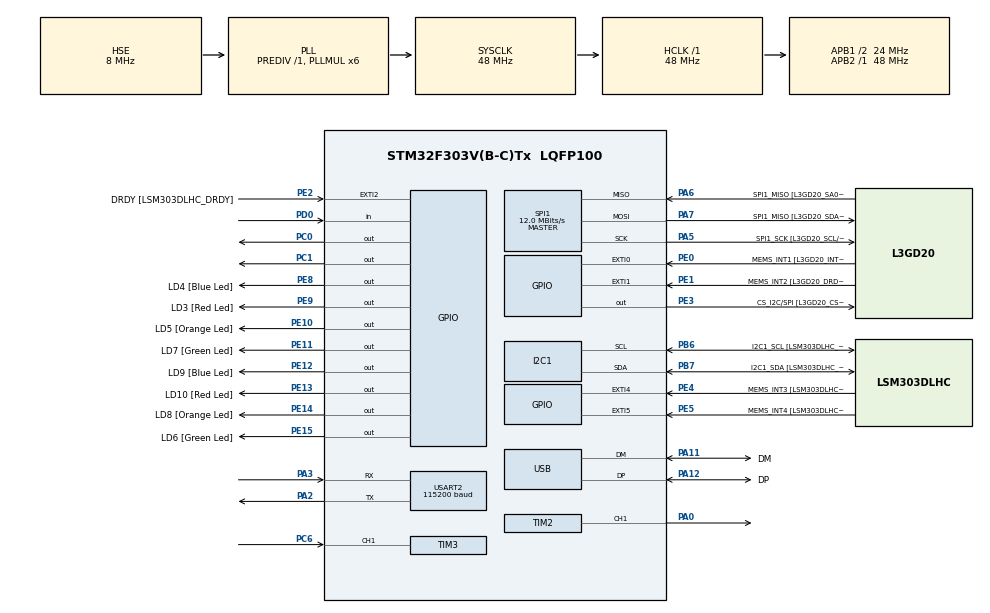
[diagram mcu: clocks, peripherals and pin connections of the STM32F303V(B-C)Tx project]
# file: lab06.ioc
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I2C1.Timing=0x00201D2B
I2C1.Timing-I2C=0x2000090E
Mcu.Family=STM32F3
Mcu.Name=STM32F303V(B-C)Tx
Mcu.Package=LQFP100
NVIC.PriorityGroup=NVIC_PRIORITYGROUP_0
NVIC.TIM2_IRQn=true\:0\:0\:false\:false\:true\:true\:true\:true
NVIC.TIM3_IRQn=true\:0\:0\:false\:false\:true\:true\:true\:true
PA0.Signal=S_TIM2_CH1_ETR
PA11.GPIO_Label=DM
PA11.Mode=Device
PA11.Signal=USB_DM
PA12.GPIO_Label=DP
PA12.Mode=Device
PA12.Signal=USB_DP
PA13.GPIO_Label=SWDIO
PA13.Mode=Serial_Wire
PA13.Signal=SYS_JTMS-SWDIO
PA14.GPIO_Label=SWCLK
PA14.Mode=Serial_Wire
PA14.Signal=SYS_JTCK-SWCLK
PA2.Mode=Asynchronous
PA2.Signal=USART2_TX
PA3.Mode=Asynchronous
PA3.Signal=USART2_RX
PA5.GPIO_Label=SPI1_SCK [L3GD20_SCL/SPC]
PA5.Mode=Full_Duplex_Master
PA5.Signal=SPI1_SCK
PA6.GPIO_Label=SPI1_MISO [L3GD20_SA0/SDO]
PA6.Mode=Full_Duplex_Master
PA6.Signal=SPI1_MISO
PA7.GPIO_Label=SPI1_MISO [L3GD20_SDA/SDI/SDO]
PA7.Mode=Full_Duplex_Master
PA7.Signal=SPI1_MOSI
PB3.GPIO_Label=SWO
PB3.Signal=SYS_JTDO-TRACESWO
PB6.GPIO_Label=I2C1_SCL [LSM303DLHC_SCL]
PB6.GPIO_Pu=GPIO_PULLUP
PB6.Mode=I2C
PB6.Signal=I2C1_SCL
PB7.GPIO_Label=I2C1_SDA [LSM303DLHC_SDA]
PB7.GPIO_Pu=GPIO_PULLUP
PB7.Mode=I2C
PB7.Signal=I2C1_SDA
PC0.Signal=GPIO_Output
PC1.Signal=GPIO_Output
PC14-OSC32_IN.GPIO_Label=OSC32_IN
PC14-OSC32_IN.Signal=RCC_OSC32_IN
PC15-OSC32_OUT.GPIO_Label=OSC32_OUT
PC15-OSC32_OUT.Signal=RCC_OSC32_OUT
PC6.Signal=S_TIM3_CH1
PD0.Signal=GPIO_Input
PE0.GPIO_Label=MEMS_INT1 [L3GD20_INT1]
PE0.GPIO_ModeDefaultEXTI=GPIO_MODE_EVT_RISING
PE0.Signal=GPXTI0
PE1.GPIO_Label=MEMS_INT2 [L3GD20_DRDY/INT2]
PE1.GPIO_ModeDefaultEXTI=GPIO_MODE_EVT_RISING
PE1.Signal=GPXTI1
PE10.GPIO_Label=LD5 [Orange Led]
PE10.Signal=GPIO_Output
PE11.GPIO_Label=LD7 [Green Led]
PE11.Signal=GPIO_Output
PE12.GPIO_Label=LD9 [Blue Led]
PE12.Signal=GPIO_Output
PE13.GPIO_Label=LD10 [Red Led]
PE13.Signal=GPIO_Output
PE14.GPIO_Label=LD8 [Orange Led]
PE14.Signal=GPIO_Output
PE15.GPIO_Label=LD6 [Green Led]
PE15.Signal=GPIO_Output
PE2.GPIO_Label=DRDY [LSM303DLHC_DRDY]
PE2.GPIO_ModeDefaultEXTI=GPIO_MODE_EVT_RISING
PE2.Signal=GPXTI2
PE3.GPIO_Label=CS_I2C/SPI [L3GD20_CS_I2C/SPI]
PE3.Signal=GPIO_Output
PE4.GPIO_Label=MEMS_INT3 [LSM303DLHC_INT1]
PE4.GPIO_ModeDefaultEXTI=GPIO_MODE_EVT_RISING
PE4.Signal=GPXTI4
PE5.GPIO_Label=MEMS_INT4 [LSM303DLHC_INT2]
PE5.GPIO_ModeDefaultEXTI=GPIO_MODE_EVT_RISING
PE5.Signal=GPXTI5
PE8.GPIO_Label=LD4 [Blue Led]
PE8.Signal=GPIO_Output
PE9.GPIO_Label=LD3 [Red Led]
PE9.Signal=GPIO_Output
PF0-OSC_IN.GPIO_Label=OSC_IN
PF0-OSC_IN.Mode=HSE-External-Clock-Source
PF0-OSC_IN.Signal=RCC_OSC_IN
PF1-OSC_OUT.GPIO_Label=OSC_OUT
PF1-OSC_OUT.Signal=RCC_OSC_OUT
ProjectManager.HeapSize=0x200
ProjectManager.StackSize=0x400
ProjectManager.TargetToolchain=CMake
RCC.AHBFreq_Value=48000000
RCC.APB1CLKDivider=RCC_HCLK_DIV2
RCC.APB1Freq_Value=24000000
RCC.APB1TimFreq_Value=48000000
RCC.APB2Freq_Value=48000000
RCC.APB2TimFreq_Value=48000000
RCC.CortexFreq_Value=48000000
RCC.HCLKFreq_Value=48000000
RCC.HSE_VALUE=8000000
RCC.HSI_VALUE=8000000
RCC.LSE_VALUE=32768
RCC.PLLMUL=RCC_PLL_MUL6
RCC.SYSCLKFreq_VALUE=48000000
RCC.SYSCLKSourceVirtual=RCC_SYSCLKSOURCE_PLLCLK
RCC.USBFreq_Value=48000000
SH.S_TIM2_CH1_ETR.0=TIM2_CH1,PWM Generation1 CH1
SH.S_TIM3_CH1.0=TIM3_CH1,Input_Capture1_from_TI1
SPI1.BaudRatePrescaler=SPI_BAUDRATEPRESCALER_4
SPI1.BaudRatePrescaler-Full_Duplex_Master=SPI_BAUDRATEPRESCALER_2
SPI1.CalculateBaudRate=12.0 MBits/s
SPI1.CalculateBaudRate-Full_Duplex_Master=24.0 MBits/s
SPI1.Direction=SPI_DIRECTION_2LINES
SPI1.Mode=SPI_MODE_MASTER
SPI1.Mode-Full_Duplex_Master=SPI_MODE_MASTER
SPI1.VirtualType=VM_MASTER
TIM2.Channel-PWM\ Generation1\ CH1=TIM_CHANNEL_1
TIM2.Period=999
TIM2.Prescaler=47
TIM3.Channel-Input_Capture1_from_TI1=TIM_CHANNEL_1
TIM3.Prescaler=47
USART2.BaudRate=115200
USART2.VirtualMode-Asynchronous=VM_ASYNC
VP_TIM2_VS_ClockSourceINT.Mode=Internal
VP_TIM3_VS_ClockSourceINT.Mode=Internal
board=STM32F3DISCOVERY

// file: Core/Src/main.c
/* USER CODE BEGIN Header */
/**
  ******************************************************************************
  * @file           : main.c
  * @brief          : Main program body
  ******************************************************************************
  * @attention
  *
  * Copyright (c) 2026 STMicroelectronics.
  * All rights reserved.
  *
  * This software is licensed under terms that can be found in the LICENSE file
  * in the root directory of this software component.
  * If no LICENSE file comes with this software, it is provided AS-IS.
  *
  ******************************************************************************
  */
/* USER CODE END Header */
#include "main.h"

/* USER CODE BEGIN Includes */
#include <stdarg.h>
#include <stdio.h>

/* USER CODE END Includes */

I2C_HandleTypeDef hi2c1;

SPI_HandleTypeDef hspi1;

TIM_HandleTypeDef htim2;
TIM_HandleTypeDef htim3;

UART_HandleTypeDef huart2;

PCD_HandleTypeDef hpcd_USB_FS;

/* USER CODE BEGIN PV */
/* CHR-GM37-520 nominal output-shaft PPR is 330 (11 encoder pulses × 30:1 gearbox),
   the full speed of motor is qcquired when input voltage is set to 12V */
#define PPR 330.0f

uint16_t g_icPeriodTicks = 0U;
uint32_t g_icPeriodSeq = 0U;

/* USER CODE END PV */

void SystemClock_Config(void);
static void MX_GPIO_Init(void);
static void MX_I2C1_Init(void);
static void MX_SPI1_Init(void);
static void MX_TIM2_Init(void);
static void MX_USB_PCD_Init(void);
static void MX_USART2_UART_Init(void);
static void MX_TIM3_Init(void);
/* USER CODE BEGIN PFP */
void Motor_A_Forward(void);
void Motor_A_Reverse(void);
void Motor_A_Stop(void);
void Motor_A_SetSpeed(uint8_t speed_percent);

/* USER CODE END PFP */

/* USER CODE BEGIN 0 */
void myPrintf(const char *fmt, ...)
{
  char buffer[128];
  va_list args;
  va_start(args, fmt);
  int len = vsnprintf(buffer, sizeof(buffer), fmt, args);
  va_end(args);

  if (len > 0)
  {
    HAL_UART_Transmit(&huart2, (uint8_t *)buffer, (uint16_t)len, HAL_MAX_DELAY);
  }
}

void Motor_A_Forward(void)
{
  HAL_GPIO_WritePin(GPIOC, GPIO_PIN_0, GPIO_PIN_SET);
  HAL_GPIO_WritePin(GPIOC, GPIO_PIN_1, GPIO_PIN_RESET);
}

void Motor_A_Reverse(void)
{
  HAL_GPIO_WritePin(GPIOC, GPIO_PIN_0, GPIO_PIN_RESET);
  HAL_GPIO_WritePin(GPIOC, GPIO_PIN_1, GPIO_PIN_SET);
}

void Motor_A_Stop(void)
{
  HAL_GPIO_WritePin(GPIOC, GPIO_PIN_0, GPIO_PIN_RESET);
  HAL_GPIO_WritePin(GPIOC, GPIO_PIN_1, GPIO_PIN_RESET);
}

void Motor_A_SetSpeed(uint8_t speed_percent)
{
  if (speed_percent > 100)
  {
    speed_percent = 100;
  }

  uint16_t ccr = (uint16_t)(((uint32_t)speed_percent * 999U) / 100U);
  __HAL_TIM_SET_COMPARE(&htim2, TIM_CHANNEL_1, ccr);
}
/* USER CODE END 0 */

int main(void)
{

  /* MCU Configuration--------------------------------------------------------*/

  /* Reset of all peripherals, Initializes the Flash interface and the Systick. */
  HAL_Init();

  /* Configure the system clock */
  SystemClock_Config();

  /* Initialize all configured peripherals */
  MX_GPIO_Init();
  MX_I2C1_Init();
  MX_SPI1_Init();
  MX_TIM2_Init();
  MX_USB_PCD_Init();
  MX_USART2_UART_Init();
  MX_TIM3_Init();
  /* USER CODE BEGIN 2 */
  HAL_TIM_PWM_Start(&htim2, TIM_CHANNEL_1);
  HAL_TIM_IC_Start_IT(&htim3, TIM_CHANNEL_1);

  Motor_A_Forward();
  Motor_A_SetSpeed(100);

  /* USER CODE END 2 */

  /* Infinite loop */
  /* USER CODE BEGIN WHILE */
  while (1)
  {
    static uint32_t lastProcessedSeq = 0U;
    if (g_icPeriodSeq != lastProcessedSeq)
    {
      lastProcessedSeq = g_icPeriodSeq;
      float freq = 1000000.0f / (float)g_icPeriodTicks;
      float rpm = (60.0f * freq) / PPR;
      myPrintf("Ticks(avg): %u | Freq: %.2f Hz | RPM: %.2f\r\n", (unsigned int)g_icPeriodTicks, freq, rpm);
    }

    /* USER CODE END WHILE */

  }
}

void SystemClock_Config(void)
{
  RCC_OscInitTypeDef RCC_OscInitStruct = {0};
  RCC_ClkInitTypeDef RCC_ClkInitStruct = {0};
  RCC_PeriphCLKInitTypeDef PeriphClkInit = {0};

  /** Initializes the RCC Oscillators according to the specified parameters
  * in the RCC_OscInitTypeDef structure.
  */
  RCC_OscInitStruct.OscillatorType = RCC_OSCILLATORTYPE_HSI|RCC_OSCILLATORTYPE_HSE;
  RCC_OscInitStruct.HSEState = RCC_HSE_BYPASS;
  RCC_OscInitStruct.HSEPredivValue = RCC_HSE_PREDIV_DIV1;
  RCC_OscInitStruct.HSIState = RCC_HSI_ON;
  RCC_OscInitStruct.HSICalibrationValue = RCC_HSICALIBRATION_DEFAULT;
  RCC_OscInitStruct.PLL.PLLState = RCC_PLL_ON;
  RCC_OscInitStruct.PLL.PLLSource = RCC_PLLSOURCE_HSE;
  RCC_OscInitStruct.PLL.PLLMUL = RCC_PLL_MUL6;
  if (HAL_RCC_OscConfig(&RCC_OscInitStruct) != HAL_OK)
  {
    Error_Handler();
  }

  /** Initializes the CPU, AHB and APB buses clocks
  */
  RCC_ClkInitStruct.ClockType = RCC_CLOCKTYPE_HCLK|RCC_CLOCKTYPE_SYSCLK
                              |RCC_CLOCKTYPE_PCLK1|RCC_CLOCKTYPE_PCLK2;
  RCC_ClkInitStruct.SYSCLKSource = RCC_SYSCLKSOURCE_PLLCLK;
  RCC_ClkInitStruct.AHBCLKDivider = RCC_SYSCLK_DIV1;
  RCC_ClkInitStruct.APB1CLKDivider = RCC_HCLK_DIV2;
  RCC_ClkInitStruct.APB2CLKDivider = RCC_HCLK_DIV1;

  if (HAL_RCC_ClockConfig(&RCC_ClkInitStruct, FLASH_LATENCY_1) != HAL_OK)
  {
    Error_Handler();
  }
  PeriphClkInit.PeriphClockSelection = RCC_PERIPHCLK_USB|RCC_PERIPHCLK_USART2
                              |RCC_PERIPHCLK_I2C1;
  PeriphClkInit.Usart2ClockSelection = RCC_USART2CLKSOURCE_PCLK1;
  PeriphClkInit.I2c1ClockSelection = RCC_I2C1CLKSOURCE_HSI;
  PeriphClkInit.USBClockSelection = RCC_USBCLKSOURCE_PLL;
  if (HAL_RCCEx_PeriphCLKConfig(&PeriphClkInit) != HAL_OK)
  {
    Error_Handler();
  }
}

static void MX_I2C1_Init(void)
{

  hi2c1.Instance = I2C1;
  hi2c1.Init.Timing = 0x00201D2B;
  hi2c1.Init.OwnAddress1 = 0;
  hi2c1.Init.AddressingMode = I2C_ADDRESSINGMODE_7BIT;
  hi2c1.Init.DualAddressMode = I2C_DUALADDRESS_DISABLE;
  hi2c1.Init.OwnAddress2 = 0;
  hi2c1.Init.OwnAddress2Masks = I2C_OA2_NOMASK;
  hi2c1.Init.GeneralCallMode = I2C_GENERALCALL_DISABLE;
  hi2c1.Init.NoStretchMode = I2C_NOSTRETCH_DISABLE;
  if (HAL_I2C_Init(&hi2c1) != HAL_OK)
  {
    Error_Handler();
  }

  /** Configure Analogue filter
  */
  if (HAL_I2CEx_ConfigAnalogFilter(&hi2c1, I2C_ANALOGFILTER_ENABLE) != HAL_OK)
  {
    Error_Handler();
  }

  /** Configure Digital filter
  */
  if (HAL_I2CEx_ConfigDigitalFilter(&hi2c1, 0) != HAL_OK)
  {
    Error_Handler();
  }

}

static void MX_SPI1_Init(void)
{

  /* SPI1 parameter configuration*/
  hspi1.Instance = SPI1;
  hspi1.Init.Mode = SPI_MODE_MASTER;
  hspi1.Init.Direction = SPI_DIRECTION_2LINES;
  hspi1.Init.DataSize = SPI_DATASIZE_4BIT;
  hspi1.Init.CLKPolarity = SPI_POLARITY_LOW;
  hspi1.Init.CLKPhase = SPI_PHASE_1EDGE;
  hspi1.Init.NSS = SPI_NSS_SOFT;
  hspi1.Init.BaudRatePrescaler = SPI_BAUDRATEPRESCALER_4;
  hspi1.Init.FirstBit = SPI_FIRSTBIT_MSB;
  hspi1.Init.TIMode = SPI_TIMODE_DISABLE;
  hspi1.Init.CRCCalculation = SPI_CRCCALCULATION_DISABLE;
  hspi1.Init.CRCPolynomial = 7;
  hspi1.Init.CRCLength = SPI_CRC_LENGTH_DATASIZE;
  hspi1.Init.NSSPMode = SPI_NSS_PULSE_ENABLE;
  if (HAL_SPI_Init(&hspi1) != HAL_OK)
  {
    Error_Handler();
  }

}

static void MX_TIM2_Init(void)
{

  TIM_ClockConfigTypeDef sClockSourceConfig = {0};
  TIM_MasterConfigTypeDef sMasterConfig = {0};
  TIM_OC_InitTypeDef sConfigOC = {0};

  htim2.Instance = TIM2;
  htim2.Init.Prescaler = 47;
  htim2.Init.CounterMode = TIM_COUNTERMODE_UP;
  htim2.Init.Period = 999;
  htim2.Init.ClockDivision = TIM_CLOCKDIVISION_DIV1;
  htim2.Init.AutoReloadPreload = TIM_AUTORELOAD_PRELOAD_DISABLE;
  if (HAL_TIM_Base_Init(&htim2) != HAL_OK)
  {
    Error_Handler();
  }
  sClockSourceConfig.ClockSource = TIM_CLOCKSOURCE_INTERNAL;
  if (HAL_TIM_ConfigClockSource(&htim2, &sClockSourceConfig) != HAL_OK)
  {
    Error_Handler();
  }
  if (HAL_TIM_PWM_Init(&htim2) != HAL_OK)
  {
    Error_Handler();
  }
  sMasterConfig.MasterOutputTrigger = TIM_TRGO_RESET;
  sMasterConfig.MasterSlaveMode = TIM_MASTERSLAVEMODE_DISABLE;
  if (HAL_TIMEx_MasterConfigSynchronization(&htim2, &sMasterConfig) != HAL_OK)
  {
    Error_Handler();
  }
  sConfigOC.OCMode = TIM_OCMODE_PWM1;
  sConfigOC.Pulse = 0;
  sConfigOC.OCPolarity = TIM_OCPOLARITY_HIGH;
  sConfigOC.OCFastMode = TIM_OCFAST_DISABLE;
  if (HAL_TIM_PWM_ConfigChannel(&htim2, &sConfigOC, TIM_CHANNEL_1) != HAL_OK)
  {
    Error_Handler();
  }
  HAL_TIM_MspPostInit(&htim2);

}

static void MX_TIM3_Init(void)
{

  TIM_ClockConfigTypeDef sClockSourceConfig = {0};
  TIM_MasterConfigTypeDef sMasterConfig = {0};
  TIM_IC_InitTypeDef sConfigIC = {0};

  htim3.Instance = TIM3;
  htim3.Init.Prescaler = 47;
  htim3.Init.CounterMode = TIM_COUNTERMODE_UP;
  htim3.Init.Period = 65535;
  htim3.Init.ClockDivision = TIM_CLOCKDIVISION_DIV1;
  htim3.Init.AutoReloadPreload = TIM_AUTORELOAD_PRELOAD_DISABLE;
  if (HAL_TIM_Base_Init(&htim3) != HAL_OK)
  {
    Error_Handler();
  }
  sClockSourceConfig.ClockSource = TIM_CLOCKSOURCE_INTERNAL;
  if (HAL_TIM_ConfigClockSource(&htim3, &sClockSourceConfig) != HAL_OK)
  {
    Error_Handler();
  }
  if (HAL_TIM_IC_Init(&htim3) != HAL_OK)
  {
    Error_Handler();
  }
  sMasterConfig.MasterOutputTrigger = TIM_TRGO_RESET;
  sMasterConfig.MasterSlaveMode = TIM_MASTERSLAVEMODE_DISABLE;
  if (HAL_TIMEx_MasterConfigSynchronization(&htim3, &sMasterConfig) != HAL_OK)
  {
    Error_Handler();
  }
  sConfigIC.ICPolarity = TIM_INPUTCHANNELPOLARITY_RISING;
  sConfigIC.ICSelection = TIM_ICSELECTION_DIRECTTI;
  sConfigIC.ICPrescaler = TIM_ICPSC_DIV1;
  sConfigIC.ICFilter = 0;
  if (HAL_TIM_IC_ConfigChannel(&htim3, &sConfigIC, TIM_CHANNEL_1) != HAL_OK)
  {
    Error_Handler();
  }

}

static void MX_USART2_UART_Init(void)
{

  huart2.Instance = USART2;
  huart2.Init.BaudRate = 115200;
  huart2.Init.WordLength = UART_WORDLENGTH_8B;
  huart2.Init.StopBits = UART_STOPBITS_1;
  huart2.Init.Parity = UART_PARITY_NONE;
  huart2.Init.Mode = UART_MODE_TX_RX;
  huart2.Init.HwFlowCtl = UART_HWCONTROL_NONE;
  huart2.Init.OverSampling = UART_OVERSAMPLING_16;
  huart2.Init.OneBitSampling = UART_ONE_BIT_SAMPLE_DISABLE;
  huart2.AdvancedInit.AdvFeatureInit = UART_ADVFEATURE_NO_INIT;
  if (HAL_UART_Init(&huart2) != HAL_OK)
  {
    Error_Handler();
  }

}

static void MX_USB_PCD_Init(void)
{

  hpcd_USB_FS.Instance = USB;
  hpcd_USB_FS.Init.dev_endpoints = 8;
  hpcd_USB_FS.Init.speed = PCD_SPEED_FULL;
  hpcd_USB_FS.Init.phy_itface = PCD_PHY_EMBEDDED;
  hpcd_USB_FS.Init.low_power_enable = DISABLE;
  hpcd_USB_FS.Init.battery_charging_enable = DISABLE;
  if (HAL_PCD_Init(&hpcd_USB_FS) != HAL_OK)
  {
    Error_Handler();
  }

}

static void MX_GPIO_Init(void)
{
  GPIO_InitTypeDef GPIO_InitStruct = {0};

  /* GPIO Ports Clock Enable */
  __HAL_RCC_GPIOE_CLK_ENABLE();
  __HAL_RCC_GPIOC_CLK_ENABLE();
  __HAL_RCC_GPIOF_CLK_ENABLE();
  __HAL_RCC_GPIOA_CLK_ENABLE();
  __HAL_RCC_GPIOD_CLK_ENABLE();
  __HAL_RCC_GPIOB_CLK_ENABLE();

  /*Configure GPIO pin Output Level */
  HAL_GPIO_WritePin(GPIOE, CS_I2C_SPI_Pin|LD4_Pin|LD3_Pin|LD5_Pin
                          |LD7_Pin|LD9_Pin|LD10_Pin|LD8_Pin
                          |LD6_Pin, GPIO_PIN_RESET);

  /*Configure GPIO pin Output Level */
  HAL_GPIO_WritePin(GPIOC, GPIO_PIN_0|GPIO_PIN_1, GPIO_PIN_RESET);

  /*Configure GPIO pins : DRDY_Pin MEMS_INT3_Pin MEMS_INT4_Pin MEMS_INT1_Pin
                           MEMS_INT2_Pin */
  GPIO_InitStruct.Pin = DRDY_Pin|MEMS_INT3_Pin|MEMS_INT4_Pin|MEMS_INT1_Pin
                          |MEMS_INT2_Pin;
  GPIO_InitStruct.Mode = GPIO_MODE_EVT_RISING;
  GPIO_InitStruct.Pull = GPIO_NOPULL;
  HAL_GPIO_Init(GPIOE, &GPIO_InitStruct);

  /*Configure GPIO pins : CS_I2C_SPI_Pin LD4_Pin LD3_Pin LD5_Pin
                           LD7_Pin LD9_Pin LD10_Pin LD8_Pin
                           LD6_Pin */
  GPIO_InitStruct.Pin = CS_I2C_SPI_Pin|LD4_Pin|LD3_Pin|LD5_Pin
                          |LD7_Pin|LD9_Pin|LD10_Pin|LD8_Pin
                          |LD6_Pin;
  GPIO_InitStruct.Mode = GPIO_MODE_OUTPUT_PP;
  GPIO_InitStruct.Pull = GPIO_NOPULL;
  GPIO_InitStruct.Speed = GPIO_SPEED_FREQ_LOW;
  HAL_GPIO_Init(GPIOE, &GPIO_InitStruct);

  /*Configure GPIO pins : PC0 PC1 */
  GPIO_InitStruct.Pin = GPIO_PIN_0|GPIO_PIN_1;
  GPIO_InitStruct.Mode = GPIO_MODE_OUTPUT_PP;
  GPIO_InitStruct.Pull = GPIO_NOPULL;
  GPIO_InitStruct.Speed = GPIO_SPEED_FREQ_LOW;
  HAL_GPIO_Init(GPIOC, &GPIO_InitStruct);

  /*Configure GPIO pin : PD0 */
  GPIO_InitStruct.Pin = GPIO_PIN_0;
  GPIO_InitStruct.Mode = GPIO_MODE_INPUT;
  GPIO_InitStruct.Pull = GPIO_NOPULL;
  HAL_GPIO_Init(GPIOD, &GPIO_InitStruct);

}

/* USER CODE BEGIN 4 */
void HAL_TIM_IC_CaptureCallback(TIM_HandleTypeDef *htim)
{
  if ((htim->Instance == TIM3) && (htim->Channel == HAL_TIM_ACTIVE_CHANNEL_1))
  {
    static uint16_t previousCapture = 0U;
    static uint8_t hasPreviousCapture = 0U;
    uint16_t currentCapture = (uint16_t)HAL_TIM_ReadCapturedValue(htim, TIM_CHANNEL_1);

    if (hasPreviousCapture != 0U)
    {
      g_icPeriodTicks = (uint16_t)(currentCapture - previousCapture);
      g_icPeriodSeq++;
    }

    previousCapture = currentCapture;
    hasPreviousCapture = 1U;
  }
}
/* USER CODE END 4 */

void Error_Handler(void)
{
  __disable_irq();
  while (1)
  {
  }
}
